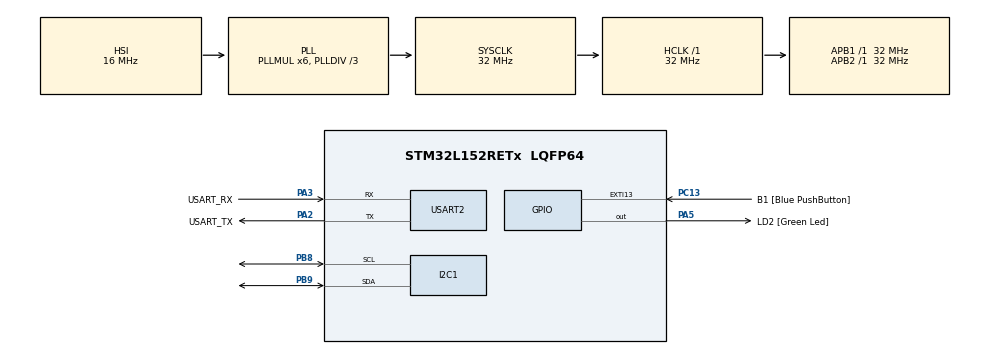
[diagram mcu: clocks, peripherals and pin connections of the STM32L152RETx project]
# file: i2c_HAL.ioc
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Mcu.Family=STM32L1
Mcu.Name=STM32L152RETx
Mcu.Package=LQFP64
NVIC.PriorityGroup=NVIC_PRIORITYGROUP_0
NVIC.USART2_IRQn=true\:0\:0\:false\:false\:true\:true\:true\:true
PA13.GPIO_Label=TMS
PA13.Mode=Serial_Wire
PA13.Signal=SYS_JTMS-SWDIO
PA14.GPIO_Label=TCK
PA14.Mode=Serial_Wire
PA14.Signal=SYS_JTCK-SWCLK
PA2.GPIO_Label=USART_TX
PA2.Mode=Asynchronous
PA2.Signal=USART2_TX
PA3.GPIO_Label=USART_RX
PA3.Mode=Asynchronous
PA3.Signal=USART2_RX
PA5.GPIO_Label=LD2 [Green Led]
PA5.Signal=GPIO_Output
PB3.GPIO_Label=SWO
PB3.Signal=SYS_JTDO-TRACESWO
PB8.Mode=I2C
PB8.Signal=I2C1_SCL
PB9.Mode=I2C
PB9.Signal=I2C1_SDA
PC13-WKUP2.GPIO_Label=B1 [Blue PushButton]
PC13-WKUP2.Signal=GPXTI13
PC14-OSC32_IN.Mode=LSE-External-Oscillator
PC14-OSC32_IN.Signal=RCC_OSC32_IN
PC15-OSC32_OUT.Mode=LSE-External-Oscillator
PC15-OSC32_OUT.Signal=RCC_OSC32_OUT
PH0-OSC_IN.Mode=HSE-External-Clock-Source
PH0-OSC_IN.Signal=RCC_OSC_IN
PH1-OSC_OUT.Signal=RCC_OSC_OUT
ProjectManager.HeapSize=0x200
ProjectManager.StackSize=0x400
ProjectManager.TargetToolchain=STM32CubeIDE
RCC.48MHZClocksFreq_Value=48000000
RCC.AHBFreq_Value=32000000
RCC.APB1Freq_Value=32000000
RCC.APB1TimFreq_Value=32000000
RCC.APB2Freq_Value=32000000
RCC.APB2TimFreq_Value=32000000
RCC.HCLKFreq_Value=32000000
RCC.HSE_VALUE=8000000
RCC.HSI_VALUE=16000000
RCC.MSI_VALUE=2097000
RCC.PLLDIV=RCC_PLL_DIV3
RCC.PLLMUL=RCC_PLL_MUL6
RCC.RTCClockSelectionVirtual=RCC_RTCCLKSOURCE_LSE
RCC.SYSCLKFreq_VALUE=32000000
RCC.SYSCLKSource=RCC_SYSCLKSOURCE_PLLCLK
RCC.USBOutput=48000000
RCC.VCOOutputFreq_Value=96000000
USART2.VirtualMode=VM_ASYNC
board=NUCLEO-L152RE

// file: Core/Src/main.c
/* USER CODE BEGIN Header */
/**
  ******************************************************************************
  * @file           : main.c
  * @brief          : Main program body
  ******************************************************************************
  * @attention
  *
  * Copyright (c) 2024 STMicroelectronics.
  * All rights reserved.
  *
  * This software is licensed under terms that can be found in the LICENSE file
  * in the root directory of this software component.
  * If no LICENSE file comes with this software, it is provided AS-IS.
  *
  ******************************************************************************
  */
/* USER CODE END Header */
#include "main.h"

/* USER CODE BEGIN Includes */
#include <string.h>
#include <stdio.h>
#include "i2c_lcd.h"
#include "i2c_acc.h"
/* USER CODE END Includes */

I2C_HandleTypeDef hi2c1;

UART_HandleTypeDef huart2;

void SystemClock_Config(void);
static void MX_GPIO_Init(void);
static void MX_USART2_UART_Init(void);
static void MX_I2C1_Init(void);

int main(void)
{
  /* USER CODE BEGIN 1 */
	uint8_t buf[64];

	HAL_StatusTypeDef ret;

  /* USER CODE END 1 */

  /* MCU Configuration--------------------------------------------------------*/

  /* Reset of all peripherals, Initializes the Flash interface and the Systick. */
  HAL_Init();

  /* Configure the system clock */
  SystemClock_Config();

  /* Initialize all configured peripherals */
  MX_GPIO_Init();
  MX_USART2_UART_Init();
  MX_I2C1_Init();
  /* USER CODE BEGIN 2 */
  configure_vma208(hi2c1);
  HAL_Delay(5);
  ret = configure_i2c_lcd(2, 16, hi2c1);
  if(ret != HAL_OK)
  {
	  strcpy((char*) buf, "Error With Setup\r\n");
  } else {
	  strcpy((char*)buf, "Setup Success!\r\n");
  }
  HAL_UART_Transmit(&huart2, buf, strlen((char*)buf), HAL_MAX_DELAY);

  lcd_clear();

  /* USER CODE END 2 */
 uint8_t name[10] = {0,0,0,0,0,0,0,0,0,0};
 int x, y, z;
  /* Infinite loop */
  while (1)
  {
	  read_xyz(name);
	  HAL_Delay(5);
	  set_row_col(0,0);
	  HAL_Delay(150);
	  x = (name[0] << 8 | name[1]);
	  y = (name[2] << 8 | name[3]);
	  z = (name[4] << 8 | name[5]);
	  sprintf((char*)buf, "X: %.4x, Y:%.4x, Z:%.4x\r\n", x, y, z);

	  if(strlen((char *)buf) > 16)
	  {
		  lcd_writes((char*)buf, 16);
		  set_row_col(1,0);
		  lcd_writes((char*)(buf+16), strlen((char*)buf)-18);
	  } else {
		  lcd_writes((char*)buf, strlen((char*)buf)-2);
	  }

	  HAL_Delay(250);
	  //lcd_clear();
	  HAL_UART_Transmit(&huart2, buf, strlen((char*)buf), HAL_MAX_DELAY);

  }
  /* Infinite loop ends*/
}

void SystemClock_Config(void)
{
  RCC_OscInitTypeDef RCC_OscInitStruct = {0};
  RCC_ClkInitTypeDef RCC_ClkInitStruct = {0};

  /** Configure the main internal regulator output voltage
  */
  __HAL_PWR_VOLTAGESCALING_CONFIG(PWR_REGULATOR_VOLTAGE_SCALE1);

  /** Initializes the RCC Oscillators according to the specified parameters
  * in the RCC_OscInitTypeDef structure.
  */
  RCC_OscInitStruct.OscillatorType = RCC_OSCILLATORTYPE_HSI;
  RCC_OscInitStruct.HSIState = RCC_HSI_ON;
  RCC_OscInitStruct.HSICalibrationValue = RCC_HSICALIBRATION_DEFAULT;
  RCC_OscInitStruct.PLL.PLLState = RCC_PLL_ON;
  RCC_OscInitStruct.PLL.PLLSource = RCC_PLLSOURCE_HSI;
  RCC_OscInitStruct.PLL.PLLMUL = RCC_PLL_MUL6;
  RCC_OscInitStruct.PLL.PLLDIV = RCC_PLL_DIV3;
  if (HAL_RCC_OscConfig(&RCC_OscInitStruct) != HAL_OK)
  {
    Error_Handler();
  }

  /** Initializes the CPU, AHB and APB buses clocks
  */
  RCC_ClkInitStruct.ClockType = RCC_CLOCKTYPE_HCLK|RCC_CLOCKTYPE_SYSCLK
                              |RCC_CLOCKTYPE_PCLK1|RCC_CLOCKTYPE_PCLK2;
  RCC_ClkInitStruct.SYSCLKSource = RCC_SYSCLKSOURCE_PLLCLK;
  RCC_ClkInitStruct.AHBCLKDivider = RCC_SYSCLK_DIV1;
  RCC_ClkInitStruct.APB1CLKDivider = RCC_HCLK_DIV1;
  RCC_ClkInitStruct.APB2CLKDivider = RCC_HCLK_DIV1;

  if (HAL_RCC_ClockConfig(&RCC_ClkInitStruct, FLASH_LATENCY_1) != HAL_OK)
  {
    Error_Handler();
  }
}

static void MX_I2C1_Init(void)
{

  hi2c1.Instance = I2C1;
  hi2c1.Init.ClockSpeed = 100000;
  hi2c1.Init.DutyCycle = I2C_DUTYCYCLE_2;
  hi2c1.Init.OwnAddress1 = 0;
  hi2c1.Init.AddressingMode = I2C_ADDRESSINGMODE_7BIT;
  hi2c1.Init.DualAddressMode = I2C_DUALADDRESS_DISABLE;
  hi2c1.Init.OwnAddress2 = 0;
  hi2c1.Init.GeneralCallMode = I2C_GENERALCALL_DISABLE;
  hi2c1.Init.NoStretchMode = I2C_NOSTRETCH_DISABLE;
  if (HAL_I2C_Init(&hi2c1) != HAL_OK)
  {
    Error_Handler();
  }

}

static void MX_USART2_UART_Init(void)
{

  huart2.Instance = USART2;
  huart2.Init.BaudRate = 115200;
  huart2.Init.WordLength = UART_WORDLENGTH_8B;
  huart2.Init.StopBits = UART_STOPBITS_1;
  huart2.Init.Parity = UART_PARITY_NONE;
  huart2.Init.Mode = UART_MODE_TX_RX;
  huart2.Init.HwFlowCtl = UART_HWCONTROL_NONE;
  huart2.Init.OverSampling = UART_OVERSAMPLING_16;
  if (HAL_UART_Init(&huart2) != HAL_OK)
  {
    Error_Handler();
  }

}

static void MX_GPIO_Init(void)
{
  GPIO_InitTypeDef GPIO_InitStruct = {0};

  /* GPIO Ports Clock Enable */
  __HAL_RCC_GPIOC_CLK_ENABLE();
  __HAL_RCC_GPIOH_CLK_ENABLE();
  __HAL_RCC_GPIOA_CLK_ENABLE();
  __HAL_RCC_GPIOB_CLK_ENABLE();

  /*Configure GPIO pin Output Level */
  HAL_GPIO_WritePin(LD2_GPIO_Port, LD2_Pin, GPIO_PIN_RESET);

  /*Configure GPIO pin : B1_Pin */
  GPIO_InitStruct.Pin = B1_Pin;
  GPIO_InitStruct.Mode = GPIO_MODE_IT_RISING;
  GPIO_InitStruct.Pull = GPIO_NOPULL;
  HAL_GPIO_Init(B1_GPIO_Port, &GPIO_InitStruct);

  /*Configure GPIO pin : LD2_Pin */
  GPIO_InitStruct.Pin = LD2_Pin;
  GPIO_InitStruct.Mode = GPIO_MODE_OUTPUT_PP;
  GPIO_InitStruct.Pull = GPIO_NOPULL;
  GPIO_InitStruct.Speed = GPIO_SPEED_FREQ_LOW;
  HAL_GPIO_Init(LD2_GPIO_Port, &GPIO_InitStruct);

}

/* USER CODE BEGIN 4 */
/**** Grove I2C 16x2 LCD ****/

/* USER CODE END 4 */

void Error_Handler(void)
{
  __disable_irq();
  while (1)
  {
  }
}
